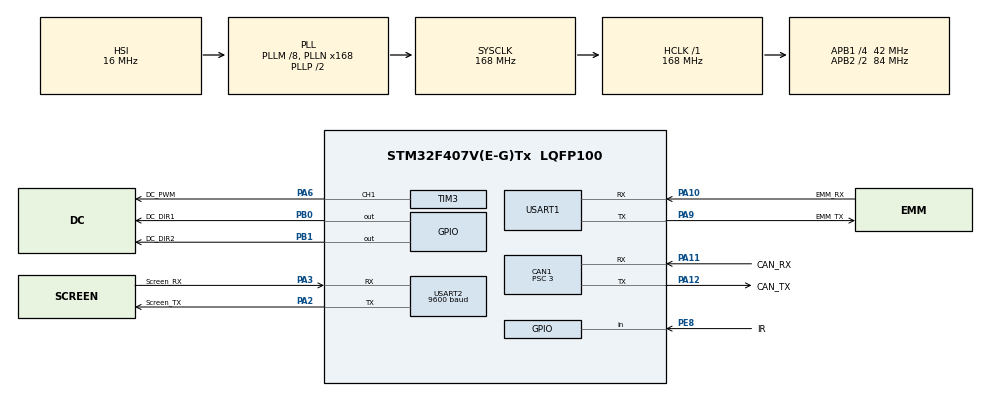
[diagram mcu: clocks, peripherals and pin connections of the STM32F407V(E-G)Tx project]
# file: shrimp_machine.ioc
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CAN1.BS1=CAN_BS1_9TQ
CAN1.BS2=CAN_BS2_4TQ
CAN1.CalculateBaudRate=1000000
CAN1.CalculateTimeBit=1000
CAN1.CalculateTimeQuantum=71.42857142857143
CAN1.Prescaler=3
Mcu.Family=STM32F4
Mcu.Name=STM32F407V(E-G)Tx
Mcu.Package=LQFP100
NVIC.CAN1_RX0_IRQn=true\:0\:0\:false\:false\:true\:true\:true\:true
NVIC.PriorityGroup=NVIC_PRIORITYGROUP_4
NVIC.USART1_IRQn=true\:0\:0\:false\:false\:true\:true\:true\:true
NVIC.USART2_IRQn=true\:0\:0\:false\:false\:true\:true\:true\:true
PA10.GPIO_Label=EMM_RX
PA10.Mode=Asynchronous
PA10.Signal=USART1_RX
PA11.GPIO_Label=CAN_RX
PA11.Mode=CAN_Activate
PA11.Signal=CAN1_RX
PA12.GPIO_Label=CAN_TX
PA12.Mode=CAN_Activate
PA12.Signal=CAN1_TX
PA13.Mode=Serial_Wire
PA13.Signal=SYS_JTMS-SWDIO
PA14.Mode=Serial_Wire
PA14.Signal=SYS_JTCK-SWCLK
PA2.GPIO_Label=Screen_TX
PA2.Mode=Asynchronous
PA2.Signal=USART2_TX
PA3.GPIO_Label=Screen_RX
PA3.Mode=Asynchronous
PA3.Signal=USART2_RX
PA6.GPIO_Label=DC_PWM
PA6.Signal=S_TIM3_CH1
PA9.GPIO_Label=EMM_TX
PA9.Mode=Asynchronous
PA9.Signal=USART1_TX
PB0.GPIO_Label=DC_DIR1
PB0.Signal=GPIO_Output
PB1.GPIO_Label=DC_DIR2
PB1.Signal=GPIO_Output
PC14-OSC32_IN.Mode=LSE-External-Oscillator
PC14-OSC32_IN.Signal=RCC_OSC32_IN
PC15-OSC32_OUT.Mode=LSE-External-Oscillator
PC15-OSC32_OUT.Signal=RCC_OSC32_OUT
PE8.GPIO_Label=IR
PE8.Signal=GPIO_Input
PH0-OSC_IN.Mode=HSE-External-Oscillator
PH0-OSC_IN.Signal=RCC_OSC_IN
PH1-OSC_OUT.Mode=HSE-External-Oscillator
PH1-OSC_OUT.Signal=RCC_OSC_OUT
ProjectManager.HeapSize=0x200
ProjectManager.StackSize=0x400
ProjectManager.TargetToolchain=MDK-ARM V5.32
RCC.48MHZClocksFreq_Value=84000000
RCC.AHBFreq_Value=168000000
RCC.APB1CLKDivider=RCC_HCLK_DIV4
RCC.APB1Freq_Value=42000000
RCC.APB1TimFreq_Value=84000000
RCC.APB2CLKDivider=RCC_HCLK_DIV2
RCC.APB2Freq_Value=84000000
RCC.APB2TimFreq_Value=168000000
RCC.CortexFreq_Value=168000000
RCC.HCLKFreq_Value=168000000
RCC.HSE_VALUE=25000000
RCC.HSI_VALUE=16000000
RCC.PLLM=8
RCC.PLLN=168
RCC.SYSCLKFreq_VALUE=168000000
RCC.SYSCLKSource=RCC_SYSCLKSOURCE_PLLCLK
RCC.VCOOutputFreq_Value=336000000
SH.S_TIM3_CH1.0=TIM3_CH1,PWM Generation1 CH1
TIM3.Channel-PWM\ Generation1\ CH1=TIM_CHANNEL_1
TIM3.Period=999
TIM3.Prescaler=7
USART1.VirtualMode=VM_ASYNC
USART2.BaudRate=9600
USART2.VirtualMode=VM_ASYNC
VP_TIM3_VS_ClockSourceINT.Mode=Internal
board=custom

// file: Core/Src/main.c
/* USER CODE BEGIN Header */
/**
  ******************************************************************************
  * @file           : main.c
  * @brief          : Main program body
  ******************************************************************************
  * @attention
  *
  * Copyright (c) 2026 STMicroelectronics.
  * All rights reserved.
  *
  * This software is licensed under terms that can be found in the LICENSE file
  * in the root directory of this software component.
  * If no LICENSE file comes with this software, it is provided AS-IS.
  *
  ******************************************************************************
  */
/* USER CODE END Header */
#include "main.h"
#include "can.h"
#include "dma.h"
#include "tim.h"
#include "usart.h"
#include "gpio.h"
/* USER CODE BEGIN Includes */
#include "rm3508.h"
#include "dc_motor.h"
#include "emm_motor.h"
#include "Screen.h"
#include "machine_workflow.h"
#include "emm_id1_test.h"
#include "rm3508_test.h"
#include "dc_motor_ir_test.h"
#include "dump.h"
#include <string.h>
/* USER CODE END Includes */

/* USER CODE BEGIN PD */
typedef enum
{
  APP_MODE_WORKFLOW = 0,
  APP_MODE_EMM_ID1_TEST,
  APP_MODE_RM3508_TEST,
  APP_MODE_DC_MOTOR_IR_TEST
} AppMode_t;

/* 切换入口只改这里：APP_MODE_WORKFLOW / APP_MODE_EMM_ID1_TEST / APP_MODE_RM3508_TEST / APP_MODE_DC_MOTOR_IR_TEST */
#define APP_MODE_SELECT               APP_MODE_WORKFLOW
/* USER CODE END PD */

/* USER CODE BEGIN PV */
MachineContext_t g_ctx;
/* USER CODE END PV */

void SystemClock_Config(void);

/* USER CODE BEGIN 0 */
/* Legacy ad-hoc motor test helpers removed; workflow now lives in machine_workflow.c. */
/* USER CODE END 0 */

int main(void)
{

  /* MCU Configuration--------------------------------------------------------*/

  /* Reset of all peripherals, Initializes the Flash interface and the Systick. */
  HAL_Init();

  /* Configure the system clock */
  SystemClock_Config();

  /* Initialize all configured peripherals */
  MX_GPIO_Init();
  MX_DMA_Init();
  MX_CAN1_Init();
  MX_TIM3_Init();
  MX_USART1_UART_Init();
  MX_USART2_UART_Init();
  /* USER CODE BEGIN 2 */
  if (APP_MODE_SELECT == APP_MODE_EMM_ID1_TEST)
  {
    EmmId1Test_Init();
  }
  else if (APP_MODE_SELECT == APP_MODE_RM3508_TEST)
  {
    Rm3508Test_Init();
  }
  else if (APP_MODE_SELECT == APP_MODE_DC_MOTOR_IR_TEST)
  {
    DcMotorIrTest_Init();
  }
  else
  {
    App_Init(&g_ctx);
    Screen_Init();
    Screen_DrawFullUI(&g_ctx);
  }
  /* USER CODE END 2 */

  /* Infinite loop */
  /* USER CODE BEGIN WHILE */
  while (1)
  {
    if (APP_MODE_SELECT == APP_MODE_EMM_ID1_TEST)
    {
      EmmId1Test_Process();
    }
    else if (APP_MODE_SELECT == APP_MODE_RM3508_TEST)
    {
      Rm3508Test_Process();
    }
    else if (APP_MODE_SELECT == APP_MODE_DC_MOTOR_IR_TEST)
    {
      DcMotorIrTest_Process();
    }
    else
    {
      static uint32_t last_rm3508_service_tick = 0U;

      Screen_ProcessRx();
      App_ProcessEvents(&g_ctx);
      App_ApplyOutputs(&g_ctx);
      if ((HAL_GetTick() - last_rm3508_service_tick) >= 10U)
      {
        last_rm3508_service_tick = HAL_GetTick();
        RM3508_Service();
      }
      App_UpdateRuntime(&g_ctx);
      Screen_Service(&g_ctx);
      Screen_RefreshDirty(&g_ctx);
    }
    /* USER CODE END WHILE */

  }
}

void SystemClock_Config(void)
{
  RCC_OscInitTypeDef RCC_OscInitStruct = {0};
  RCC_ClkInitTypeDef RCC_ClkInitStruct = {0};

  /** Configure the main internal regulator output voltage
  */
  __HAL_RCC_PWR_CLK_ENABLE();
  __HAL_PWR_VOLTAGESCALING_CONFIG(PWR_REGULATOR_VOLTAGE_SCALE1);

  /** Initializes the RCC Oscillators according to the specified parameters
  * in the RCC_OscInitTypeDef structure.
  */
  RCC_OscInitStruct.OscillatorType = RCC_OSCILLATORTYPE_HSI;
  RCC_OscInitStruct.HSIState = RCC_HSI_ON;
  RCC_OscInitStruct.HSICalibrationValue = RCC_HSICALIBRATION_DEFAULT;
  RCC_OscInitStruct.PLL.PLLState = RCC_PLL_ON;
  RCC_OscInitStruct.PLL.PLLSource = RCC_PLLSOURCE_HSI;
  RCC_OscInitStruct.PLL.PLLM = 8;
  RCC_OscInitStruct.PLL.PLLN = 168;
  RCC_OscInitStruct.PLL.PLLP = RCC_PLLP_DIV2;
  RCC_OscInitStruct.PLL.PLLQ = 4;
  if (HAL_RCC_OscConfig(&RCC_OscInitStruct) != HAL_OK)
  {
    Error_Handler();
  }

  /** Initializes the CPU, AHB and APB buses clocks
  */
  RCC_ClkInitStruct.ClockType = RCC_CLOCKTYPE_HCLK|RCC_CLOCKTYPE_SYSCLK
                              |RCC_CLOCKTYPE_PCLK1|RCC_CLOCKTYPE_PCLK2;
  RCC_ClkInitStruct.SYSCLKSource = RCC_SYSCLKSOURCE_PLLCLK;
  RCC_ClkInitStruct.AHBCLKDivider = RCC_SYSCLK_DIV1;
  RCC_ClkInitStruct.APB1CLKDivider = RCC_HCLK_DIV4;
  RCC_ClkInitStruct.APB2CLKDivider = RCC_HCLK_DIV2;

  if (HAL_RCC_ClockConfig(&RCC_ClkInitStruct, FLASH_LATENCY_5) != HAL_OK)
  {
    Error_Handler();
  }
}

void Error_Handler(void)
{
  __disable_irq();
  while (1)
  {
  }
}
